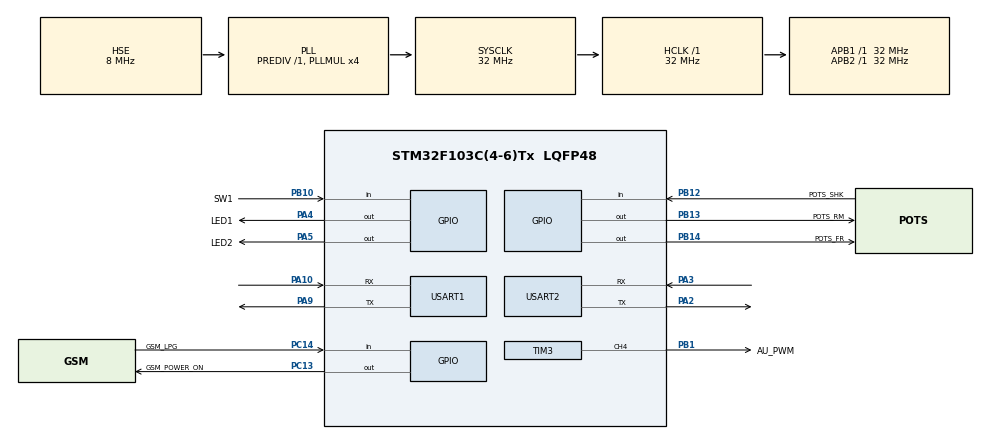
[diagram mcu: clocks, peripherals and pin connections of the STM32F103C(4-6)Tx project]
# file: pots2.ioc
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Mcu.Family=STM32F1
Mcu.Name=STM32F103C(4-6)Tx
Mcu.Package=LQFP48
NVIC.PriorityGroup=NVIC_PRIORITYGROUP_4
NVIC.TIM2_IRQn=true\:0\:0\:false\:false\:true\:true\:true
NVIC.USART1_IRQn=true\:0\:0\:false\:false\:true\:true\:true
NVIC.USART2_IRQn=true\:0\:0\:false\:false\:true\:true\:true
PA10.Mode=Asynchronous
PA10.Signal=USART1_RX
PA13.Mode=Serial_Wire
PA13.Signal=SYS_JTMS-SWDIO
PA14.Mode=Serial_Wire
PA14.Signal=SYS_JTCK-SWCLK
PA2.Mode=Asynchronous
PA2.Signal=USART2_TX
PA3.Mode=Asynchronous
PA3.Signal=USART2_RX
PA4.GPIO_Label=LED1
PA4.Signal=GPIO_Output
PA5.GPIO_Label=LED2
PA5.Signal=GPIO_Output
PA9.Mode=Asynchronous
PA9.Signal=USART1_TX
PB1.GPIO_Label=AU_PWM
PB1.Signal=S_TIM3_CH4
PB10.GPIO_Label=SW1
PB10.GPIO_PuPd=GPIO_PULLUP
PB10.Signal=GPIO_Input
PB12.GPIO_Label=POTS_SHK
PB12.Signal=GPIO_Input
PB13.GPIO_Label=POTS_RM
PB13.Signal=GPIO_Output
PB14.GPIO_Label=POTS_FR
PB14.Signal=GPIO_Output
PC13-TAMPER-RTC.GPIO_Label=GSM_POWER_ON
PC13-TAMPER-RTC.Signal=GPIO_Output
PC14-OSC32_IN.GPIO_Label=GSM_LPG
PC14-OSC32_IN.Signal=GPIO_Input
PD0-OSC_IN.Mode=HSE-External-Oscillator
PD0-OSC_IN.Signal=RCC_OSC_IN
PD1-OSC_OUT.Mode=HSE-External-Oscillator
PD1-OSC_OUT.Signal=RCC_OSC_OUT
ProjectManager.HeapSize=0x200
ProjectManager.StackSize=0x400
ProjectManager.TargetToolchain=STM32CubeIDE
RCC.AHBFreq_Value=32000000
RCC.APB1Freq_Value=32000000
RCC.APB1TimFreq_Value=32000000
RCC.APB2Freq_Value=32000000
RCC.APB2TimFreq_Value=32000000
RCC.HCLKFreq_Value=32000000
RCC.PLLMUL=RCC_PLL_MUL4
RCC.PLLSourceVirtual=RCC_PLLSOURCE_HSE
RCC.SYSCLKFreq_VALUE=32000000
RCC.SYSCLKSource=RCC_SYSCLKSOURCE_PLLCLK
RCC.USBFreq_Value=32000000
SH.S_TIM3_CH4.0=TIM3_CH4,PWM Generation4 CH4
TIM2.Period=3200
TIM3.Channel-PWM\ Generation4\ CH4=TIM_CHANNEL_4
TIM3.Period=1024
USART1.VirtualMode=VM_ASYNC
USART2.VirtualMode=VM_ASYNC
VP_TIM2_VS_ClockSourceINT.Mode=Internal
VP_TIM3_VS_ClockSourceINT.Mode=Internal
board=custom

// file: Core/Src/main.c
/* USER CODE BEGIN Header */
/**
  ******************************************************************************
  * @file           : main.c
  * @brief          : Main program body
  ******************************************************************************
  * @attention
  *
  * Copyright (c) 2022 STMicroelectronics.
  * All rights reserved.
  *
  * This software is licensed under terms that can be found in the LICENSE file
  * in the root directory of this software component.
  * If no LICENSE file comes with this software, it is provided AS-IS.
  *
  ******************************************************************************
  */
/* USER CODE END Header */
#include "main.h"

/* USER CODE BEGIN Includes */
#include "gsm.h"
#include "debug_uart.h"
#include "pulse_dialing.h"
#include "signaling.h"
#include "ringing.h"
#include "button.h"

/* USER CODE END Includes */

/* USER CODE BEGIN PTD */

typedef enum
{
	GATEWAY_STATE_INIT = 0u,
	GATEWAY_STATE_INCOMING_CALL,
	GATEWAY_STATE_OUTGOING_CALL
}gateway_state_t;

/* USER CODE END PTD */

/* USER CODE BEGIN PD */
#define TIM2_INTERRUPT_FREQUENCY_HZ (10000)
#define CALLBACK_FREQUENCY_HZ (250)
#define DIALING_COMPLETED_TIMEOUT_MILLISECOND (3000)
/* USER CODE END PD */

TIM_HandleTypeDef htim2;
TIM_HandleTypeDef htim3;

UART_HandleTypeDef huart1;
UART_HandleTypeDef huart2;

/* USER CODE BEGIN PV */
uint8_t UART1_rxChar, UART2_rxChar;
gsm_t myGSM;
pulse_dialing_machine_t myDialing;
signaling_t mySignaling;
ringer_t myRing;
button_t myPowerOnButton;

uint16_t timeSinceLastDigitDialedMillisecond=0;
char dialedDigits[16];
uint8_t dialedDigitsCounter=0;
gateway_state_t gatewayState=GATEWAY_STATE_INIT;

uint16_t myTIM2Counter=0;
/* USER CODE END PV */

void SystemClock_Config(void);
static void MX_GPIO_Init(void);
static void MX_USART1_UART_Init(void);
static void MX_USART2_UART_Init(void);
static void MX_TIM2_Init(void);
static void MX_TIM3_Init(void);

int main(void)
{

  /* MCU Configuration--------------------------------------------------------*/

  /* Reset of all peripherals, Initializes the Flash interface and the Systick. */
  HAL_Init();

  /* Configure the system clock */
  SystemClock_Config();

  /* Initialize all configured peripherals */
  MX_GPIO_Init();
  MX_USART1_UART_Init();
  MX_USART2_UART_Init();
  MX_TIM2_Init();
  MX_TIM3_Init();
  /* USER CODE BEGIN 2 */

  HAL_TIM_Base_Start_IT(&htim2);

  myGSM.huart=&huart2;
  myGSM.port_GSM_POWER_ON=GSM_POWER_ON_GPIO_Port;
  myGSM.pin_GSM_POWER_ON=GSM_POWER_ON_Pin;
  myGSM.port_GSM_LPG=GSM_LPG_GPIO_Port;
  myGSM.pin_GSM_LPG=GSM_LPG_Pin;
  myGSM.timeKeepingPeriodMilliseconds=1000/CALLBACK_FREQUENCY_HZ;

  gsmInit(&myGSM);

  debug_message("Reset");

  ///////////////////////////////////////////////////////////////
  //initialization of signaling module///////////////////////////
  ///////////////////////////////////////////////////////////////
  mySignaling.toneFrequency_hertz=410; //this is required tone frequency
  mySignaling.toneOnDuration_milliseconds=450;
  mySignaling.toneOffDuration_milliseconds=0;
  mySignaling.frequencyCallback_hertz=CALLBACK_FREQUENCY_HZ; //currently the function is implemented that TIM3 interrupt frequency is equal to requested tone frequency
  mySignaling.fclk_hertz=32000000;
  mySignaling.timer=&htim3;
  mySignaling.state=SIGNALING_INTERNAL_STATE_OFF;
  signalingInit(&mySignaling);

  ///////////////////////////////////////////////////////////////
  //initialization of dialing receiver///////////////////////////
  ///////////////////////////////////////////////////////////////
  myDialing.SHK_GPIO_Port=POTS_SHK_GPIO_Port;
  myDialing.SHK_Pin=POTS_SHK_Pin;
  myDialing.frequencyCallback_hertz=CALLBACK_FREQUENCY_HZ;
  pulseDialingInit(&myDialing);

  ///////////////////////////////////////////////////////////////
  //initialization of ringing module/////////////////////////////
  ///////////////////////////////////////////////////////////////
  myRing.callBackFrequency=CALLBACK_FREQUENCY_HZ;
  myRing.state=RINGER_OFF;
  myRing.FR_GPIO_Port=POTS_FR_GPIO_Port;
  myRing.FR_Pin=POTS_FR_Pin;
  myRing.RM_GPIO_Port=POTS_RM_GPIO_Port;
  myRing.RM_Pin=POTS_RM_Pin;
  ringInit(&myRing);

  HAL_UART_Receive_IT(&huart1, &UART1_rxChar, 1);
  HAL_UART_Receive_IT(&huart2, &UART2_rxChar, 1);

  HAL_GPIO_WritePin(LED1_GPIO_Port, LED1_Pin, GPIO_PIN_SET);
  HAL_GPIO_WritePin(LED2_GPIO_Port, LED2_Pin, GPIO_PIN_SET);

  ///////////////////////////////////////////////////////////////
  //initialization of power on button////////////////////////////
  ///////////////////////////////////////////////////////////////
  myPowerOnButton.pin_BUTTON=SW1_Pin;
  myPowerOnButton.port_BUTTON=SW1_GPIO_Port;
  myPowerOnButton.timeKeepingPeriodMilliseconds=1000/CALLBACK_FREQUENCY_HZ;
  buttonInit(&myPowerOnButton);

  /* USER CODE END 2 */

  /* Infinite loop */
  /* USER CODE BEGIN WHILE */
  while (1)
  {
    gsmService(&myGSM);														//service GSM module
    if(myGSM.LPG_PinState==GPIO_PIN_SET)										//copy LPG pin state with inverted logic to the status LED
    	HAL_GPIO_WritePin(LED1_GPIO_Port, LED1_Pin, GPIO_PIN_RESET);
    else
		HAL_GPIO_WritePin(LED1_GPIO_Port, LED1_Pin, GPIO_PIN_SET);

    if(myPowerOnButton.actionFlag==BUTTON_ACTION_FLAG_SET){
    	myPowerOnButton.actionFlag=BUTTON_ACTION_NO_FLAG;
    	if(myPowerOnButton.buttonRequestedState==BUTTON_STATE_ON)				//copy high level button state to the second status led
			HAL_GPIO_WritePin(LED2_GPIO_Port, LED2_Pin, GPIO_PIN_SET);
		else
			HAL_GPIO_WritePin(LED2_GPIO_Port, LED2_Pin, GPIO_PIN_RESET);
    }

    if(myDialing.dialedDigit>-1){
		snprintf(buffer, sizeof(buffer), "myDialing %d\n", myDialing.dialedDigit);
		HAL_UART_Transmit_IT(&huart1, buffer, strlen(buffer));
		if(dialedDigitsCounter<sizeof(dialedDigits)){ 						//if there is room for the next digit
			dialedDigits[dialedDigitsCounter]='0'+myDialing.dialedDigit; 	//store dialed digit, already in string format
			dialedDigitsCounter++;											//increase digit dialing counter
		}
		timeSinceLastDigitDialedMillisecond=0;											//zero timer
		myDialing.dialedDigit=-1;
	}

	if(myDialing.newEventHandset){
		myDialing.newEventHandset=0;
		if(myDialing.Handset_State==HANDSET_LIFTED){
			snprintf(buffer, sizeof(buffer), "myDialing HANDSET_LIFTED\n");
			HAL_UART_Transmit_IT(&huart1, buffer, strlen(buffer));
		}
		if(myDialing.Handset_State==HANDSET_ON_HOOK){
//			dialedDigitsCounter=0; 											//forget all dialed digits if handset back on hook
//			gatewayState=GATEWAY_STATE_INIT;								//go back to the GATEWAY_INIT state
//			snprintf(buffer, sizeof(buffer), "myDialing HANDSET_ON_HOOK\n");
//			HAL_UART_Transmit_IT(&huart1, buffer, strlen(buffer));
		}
	}

	switch(gatewayState){
	case GATEWAY_STATE_INIT:
																			//a number has been completely dialed
		if(myDialing.Handset_State==HANDSET_LIFTED && timeSinceLastDigitDialedMillisecond>DIALING_COMPLETED_TIMEOUT_MILLISECOND && dialedDigitsCounter>0){
			gatewayState=GATEWAY_STATE_OUTGOING_CALL;
			snprintf(buffer, sizeof(buffer), "Dialed %s\n", dialedDigits);
			HAL_UART_Transmit_IT(&huart1, buffer, strlen(buffer));
			gsmStartCall(&myGSM, dialedDigits);
		}
		if(myGSM.logicState==GSM_LOGIC_MODULE_RING){						//there is an incoming call from a GSM module
			if(myDialing.Handset_State==HANDSET_ON_HOOK){ 					//if handset on hook
				ringFrontPanel(&myRing, RINGER_RINGING_BURST); 				//keep on ringing
			}
			else{ 															//handset lifted
				gsmAnswerIncomingCall(&myGSM);								//ask GSM module to accept incoming call
				ringFrontPanel(&myRing, RINGER_OFF);						//stop ringing
				gatewayState=GATEWAY_STATE_INCOMING_CALL;					//change state
			}
		}
		else																//there is no incoming call from the GSM module
		{
			ringFrontPanel(&myRing, RINGER_OFF);							//stop ringing, also when incomong call was not answered (NO CARRIER from GSM Module)
		}
		if(myDialing.Handset_State==HANDSET_LIFTED){						//if handset picked up
			signalingFrontPanel(&mySignaling, 1);						//generate continuous tone
		}
		break;
	case GATEWAY_STATE_OUTGOING_CALL:
		if(myDialing.Handset_State==HANDSET_ON_HOOK){
			gsmEndCall(&myGSM);												//request module to end the call
			gatewayState=GATEWAY_STATE_INIT;								//go back to init state
			memset(dialedDigits,'\0',sizeof(dialedDigits));					//forget dialed number
			dialedDigitsCounter=0;
			snprintf(buffer, sizeof(buffer), "HANDSET_ON_HOOK\n");
			HAL_UART_Transmit_IT(&huart1, buffer, strlen(buffer));
		}
		signalingFrontPanel(&mySignaling, 0);								//do not generate tone during outgoing call

		break;
	case GATEWAY_STATE_INCOMING_CALL:
		if(myDialing.Handset_State==HANDSET_ON_HOOK) //if handset back on the hook => end the call
		{
			gsmEndCall(&myGSM);
			gatewayState=GATEWAY_STATE_INIT;
		}
		signalingFrontPanel(&mySignaling, 0);								//do not generate tone during incoming call

		break;
	}

    /* USER CODE END WHILE */

  }
}

void SystemClock_Config(void)
{
  RCC_OscInitTypeDef RCC_OscInitStruct = {0};
  RCC_ClkInitTypeDef RCC_ClkInitStruct = {0};

  /** Initializes the RCC Oscillators according to the specified parameters
  * in the RCC_OscInitTypeDef structure.
  */
  RCC_OscInitStruct.OscillatorType = RCC_OSCILLATORTYPE_HSE;
  RCC_OscInitStruct.HSEState = RCC_HSE_ON;
  RCC_OscInitStruct.HSEPredivValue = RCC_HSE_PREDIV_DIV1;
  RCC_OscInitStruct.HSIState = RCC_HSI_ON;
  RCC_OscInitStruct.PLL.PLLState = RCC_PLL_ON;
  RCC_OscInitStruct.PLL.PLLSource = RCC_PLLSOURCE_HSE;
  RCC_OscInitStruct.PLL.PLLMUL = RCC_PLL_MUL4;
  if (HAL_RCC_OscConfig(&RCC_OscInitStruct) != HAL_OK)
  {
    Error_Handler();
  }
  /** Initializes the CPU, AHB and APB buses clocks
  */
  RCC_ClkInitStruct.ClockType = RCC_CLOCKTYPE_HCLK|RCC_CLOCKTYPE_SYSCLK
                              |RCC_CLOCKTYPE_PCLK1|RCC_CLOCKTYPE_PCLK2;
  RCC_ClkInitStruct.SYSCLKSource = RCC_SYSCLKSOURCE_PLLCLK;
  RCC_ClkInitStruct.AHBCLKDivider = RCC_SYSCLK_DIV1;
  RCC_ClkInitStruct.APB1CLKDivider = RCC_HCLK_DIV1;
  RCC_ClkInitStruct.APB2CLKDivider = RCC_HCLK_DIV1;

  if (HAL_RCC_ClockConfig(&RCC_ClkInitStruct, FLASH_LATENCY_1) != HAL_OK)
  {
    Error_Handler();
  }
}

static void MX_TIM2_Init(void)
{

  TIM_ClockConfigTypeDef sClockSourceConfig = {0};
  TIM_MasterConfigTypeDef sMasterConfig = {0};

  htim2.Instance = TIM2;
  htim2.Init.Prescaler = 0;
  htim2.Init.CounterMode = TIM_COUNTERMODE_UP;
  htim2.Init.Period = 3200;
  htim2.Init.ClockDivision = TIM_CLOCKDIVISION_DIV1;
  htim2.Init.AutoReloadPreload = TIM_AUTORELOAD_PRELOAD_DISABLE;
  if (HAL_TIM_Base_Init(&htim2) != HAL_OK)
  {
    Error_Handler();
  }
  sClockSourceConfig.ClockSource = TIM_CLOCKSOURCE_INTERNAL;
  if (HAL_TIM_ConfigClockSource(&htim2, &sClockSourceConfig) != HAL_OK)
  {
    Error_Handler();
  }
  sMasterConfig.MasterOutputTrigger = TIM_TRGO_RESET;
  sMasterConfig.MasterSlaveMode = TIM_MASTERSLAVEMODE_DISABLE;
  if (HAL_TIMEx_MasterConfigSynchronization(&htim2, &sMasterConfig) != HAL_OK)
  {
    Error_Handler();
  }

}

static void MX_TIM3_Init(void)
{

  TIM_ClockConfigTypeDef sClockSourceConfig = {0};
  TIM_MasterConfigTypeDef sMasterConfig = {0};
  TIM_OC_InitTypeDef sConfigOC = {0};

  htim3.Instance = TIM3;
  htim3.Init.Prescaler = 0;
  htim3.Init.CounterMode = TIM_COUNTERMODE_UP;
  htim3.Init.Period = 1024;
  htim3.Init.ClockDivision = TIM_CLOCKDIVISION_DIV1;
  htim3.Init.AutoReloadPreload = TIM_AUTORELOAD_PRELOAD_DISABLE;
  if (HAL_TIM_Base_Init(&htim3) != HAL_OK)
  {
    Error_Handler();
  }
  sClockSourceConfig.ClockSource = TIM_CLOCKSOURCE_INTERNAL;
  if (HAL_TIM_ConfigClockSource(&htim3, &sClockSourceConfig) != HAL_OK)
  {
    Error_Handler();
  }
  if (HAL_TIM_PWM_Init(&htim3) != HAL_OK)
  {
    Error_Handler();
  }
  sMasterConfig.MasterOutputTrigger = TIM_TRGO_RESET;
  sMasterConfig.MasterSlaveMode = TIM_MASTERSLAVEMODE_DISABLE;
  if (HAL_TIMEx_MasterConfigSynchronization(&htim3, &sMasterConfig) != HAL_OK)
  {
    Error_Handler();
  }
  sConfigOC.OCMode = TIM_OCMODE_PWM1;
  sConfigOC.Pulse = 0;
  sConfigOC.OCPolarity = TIM_OCPOLARITY_HIGH;
  sConfigOC.OCFastMode = TIM_OCFAST_DISABLE;
  if (HAL_TIM_PWM_ConfigChannel(&htim3, &sConfigOC, TIM_CHANNEL_4) != HAL_OK)
  {
    Error_Handler();
  }
  HAL_TIM_MspPostInit(&htim3);

}

static void MX_USART1_UART_Init(void)
{

  huart1.Instance = USART1;
  huart1.Init.BaudRate = 115200;
  huart1.Init.WordLength = UART_WORDLENGTH_8B;
  huart1.Init.StopBits = UART_STOPBITS_1;
  huart1.Init.Parity = UART_PARITY_NONE;
  huart1.Init.Mode = UART_MODE_TX_RX;
  huart1.Init.HwFlowCtl = UART_HWCONTROL_NONE;
  huart1.Init.OverSampling = UART_OVERSAMPLING_16;
  if (HAL_UART_Init(&huart1) != HAL_OK)
  {
    Error_Handler();
  }

}

static void MX_USART2_UART_Init(void)
{

  huart2.Instance = USART2;
  huart2.Init.BaudRate = 115200;
  huart2.Init.WordLength = UART_WORDLENGTH_8B;
  huart2.Init.StopBits = UART_STOPBITS_1;
  huart2.Init.Parity = UART_PARITY_NONE;
  huart2.Init.Mode = UART_MODE_TX_RX;
  huart2.Init.HwFlowCtl = UART_HWCONTROL_NONE;
  huart2.Init.OverSampling = UART_OVERSAMPLING_16;
  if (HAL_UART_Init(&huart2) != HAL_OK)
  {
    Error_Handler();
  }

}

static void MX_GPIO_Init(void)
{
  GPIO_InitTypeDef GPIO_InitStruct = {0};

  /* GPIO Ports Clock Enable */
  __HAL_RCC_GPIOC_CLK_ENABLE();
  __HAL_RCC_GPIOD_CLK_ENABLE();
  __HAL_RCC_GPIOA_CLK_ENABLE();
  __HAL_RCC_GPIOB_CLK_ENABLE();

  /*Configure GPIO pin Output Level */
  HAL_GPIO_WritePin(GSM_POWER_ON_GPIO_Port, GSM_POWER_ON_Pin, GPIO_PIN_RESET);

  /*Configure GPIO pin Output Level */
  HAL_GPIO_WritePin(GPIOA, LED1_Pin|LED2_Pin, GPIO_PIN_RESET);

  /*Configure GPIO pin Output Level */
  HAL_GPIO_WritePin(GPIOB, POTS_RM_Pin|POTS_FR_Pin, GPIO_PIN_RESET);

  /*Configure GPIO pin : GSM_POWER_ON_Pin */
  GPIO_InitStruct.Pin = GSM_POWER_ON_Pin;
  GPIO_InitStruct.Mode = GPIO_MODE_OUTPUT_PP;
  GPIO_InitStruct.Pull = GPIO_NOPULL;
  GPIO_InitStruct.Speed = GPIO_SPEED_FREQ_LOW;
  HAL_GPIO_Init(GSM_POWER_ON_GPIO_Port, &GPIO_InitStruct);

  /*Configure GPIO pin : GSM_LPG_Pin */
  GPIO_InitStruct.Pin = GSM_LPG_Pin;
  GPIO_InitStruct.Mode = GPIO_MODE_INPUT;
  GPIO_InitStruct.Pull = GPIO_NOPULL;
  HAL_GPIO_Init(GSM_LPG_GPIO_Port, &GPIO_InitStruct);

  /*Configure GPIO pins : LED1_Pin LED2_Pin */
  GPIO_InitStruct.Pin = LED1_Pin|LED2_Pin;
  GPIO_InitStruct.Mode = GPIO_MODE_OUTPUT_PP;
  GPIO_InitStruct.Pull = GPIO_NOPULL;
  GPIO_InitStruct.Speed = GPIO_SPEED_FREQ_LOW;
  HAL_GPIO_Init(GPIOA, &GPIO_InitStruct);

  /*Configure GPIO pin : SW1_Pin */
  GPIO_InitStruct.Pin = SW1_Pin;
  GPIO_InitStruct.Mode = GPIO_MODE_INPUT;
  GPIO_InitStruct.Pull = GPIO_PULLUP;
  HAL_GPIO_Init(SW1_GPIO_Port, &GPIO_InitStruct);

  /*Configure GPIO pin : POTS_SHK_Pin */
  GPIO_InitStruct.Pin = POTS_SHK_Pin;
  GPIO_InitStruct.Mode = GPIO_MODE_INPUT;
  GPIO_InitStruct.Pull = GPIO_NOPULL;
  HAL_GPIO_Init(POTS_SHK_GPIO_Port, &GPIO_InitStruct);

  /*Configure GPIO pins : POTS_RM_Pin POTS_FR_Pin */
  GPIO_InitStruct.Pin = POTS_RM_Pin|POTS_FR_Pin;
  GPIO_InitStruct.Mode = GPIO_MODE_OUTPUT_PP;
  GPIO_InitStruct.Pull = GPIO_NOPULL;
  GPIO_InitStruct.Speed = GPIO_SPEED_FREQ_LOW;
  HAL_GPIO_Init(GPIOB, &GPIO_InitStruct);

}

/* USER CODE BEGIN 4 */

void HAL_UART_RxCpltCallback(UART_HandleTypeDef *huart)
{
//	HAL_GPIO_TogglePin(BLUEPILL_LED_GPIO_Port, BLUEPILL_LED_Pin);

	if(huart->Instance==USART1){
		HAL_UART_Receive_IT(&huart1, &UART1_rxChar, 1);
		if(UART1_rxChar>='0' && UART1_rxChar<='3'){
			signalingFrontPanel(&mySignaling,UART1_rxChar-'0');
			}
		if(UART1_rxChar>='a' && UART1_rxChar<='b'){
			ringFrontPanel(&myRing,UART1_rxChar-'a');
			}
	}
	if(huart->Instance==USART2){
		gsmUartReceiver(&myGSM, UART2_rxChar);
		HAL_UART_Receive_IT(&huart2, &UART2_rxChar, 1);
	}
}

void HAL_TIM_PeriodElapsedCallback(TIM_HandleTypeDef *htim)
{
	if(htim->Instance==TIM2){
		myTIM2Counter++;
		if(myTIM2Counter>=TIM2_INTERRUPT_FREQUENCY_HZ/CALLBACK_FREQUENCY_HZ)
		{
			//this is executes with frequency of CALLBACK_FREQUENCY_HZ
			myTIM2Counter=0;
			pulseDialingCallback(&myDialing);
			signalingCallback(&mySignaling);
			ringCallback(&myRing);
			gsmTimeKeeping(&myGSM);
			buttonTimeKeeping(&myPowerOnButton);
			if(timeSinceLastDigitDialedMillisecond<UINT16_MAX-1000/CALLBACK_FREQUENCY_HZ){
				timeSinceLastDigitDialedMillisecond+=1000/CALLBACK_FREQUENCY_HZ;
			}
		}
	}
}

/* USER CODE END 4 */

void Error_Handler(void)
{
  __disable_irq();
  while (1)
  {
  }
}
